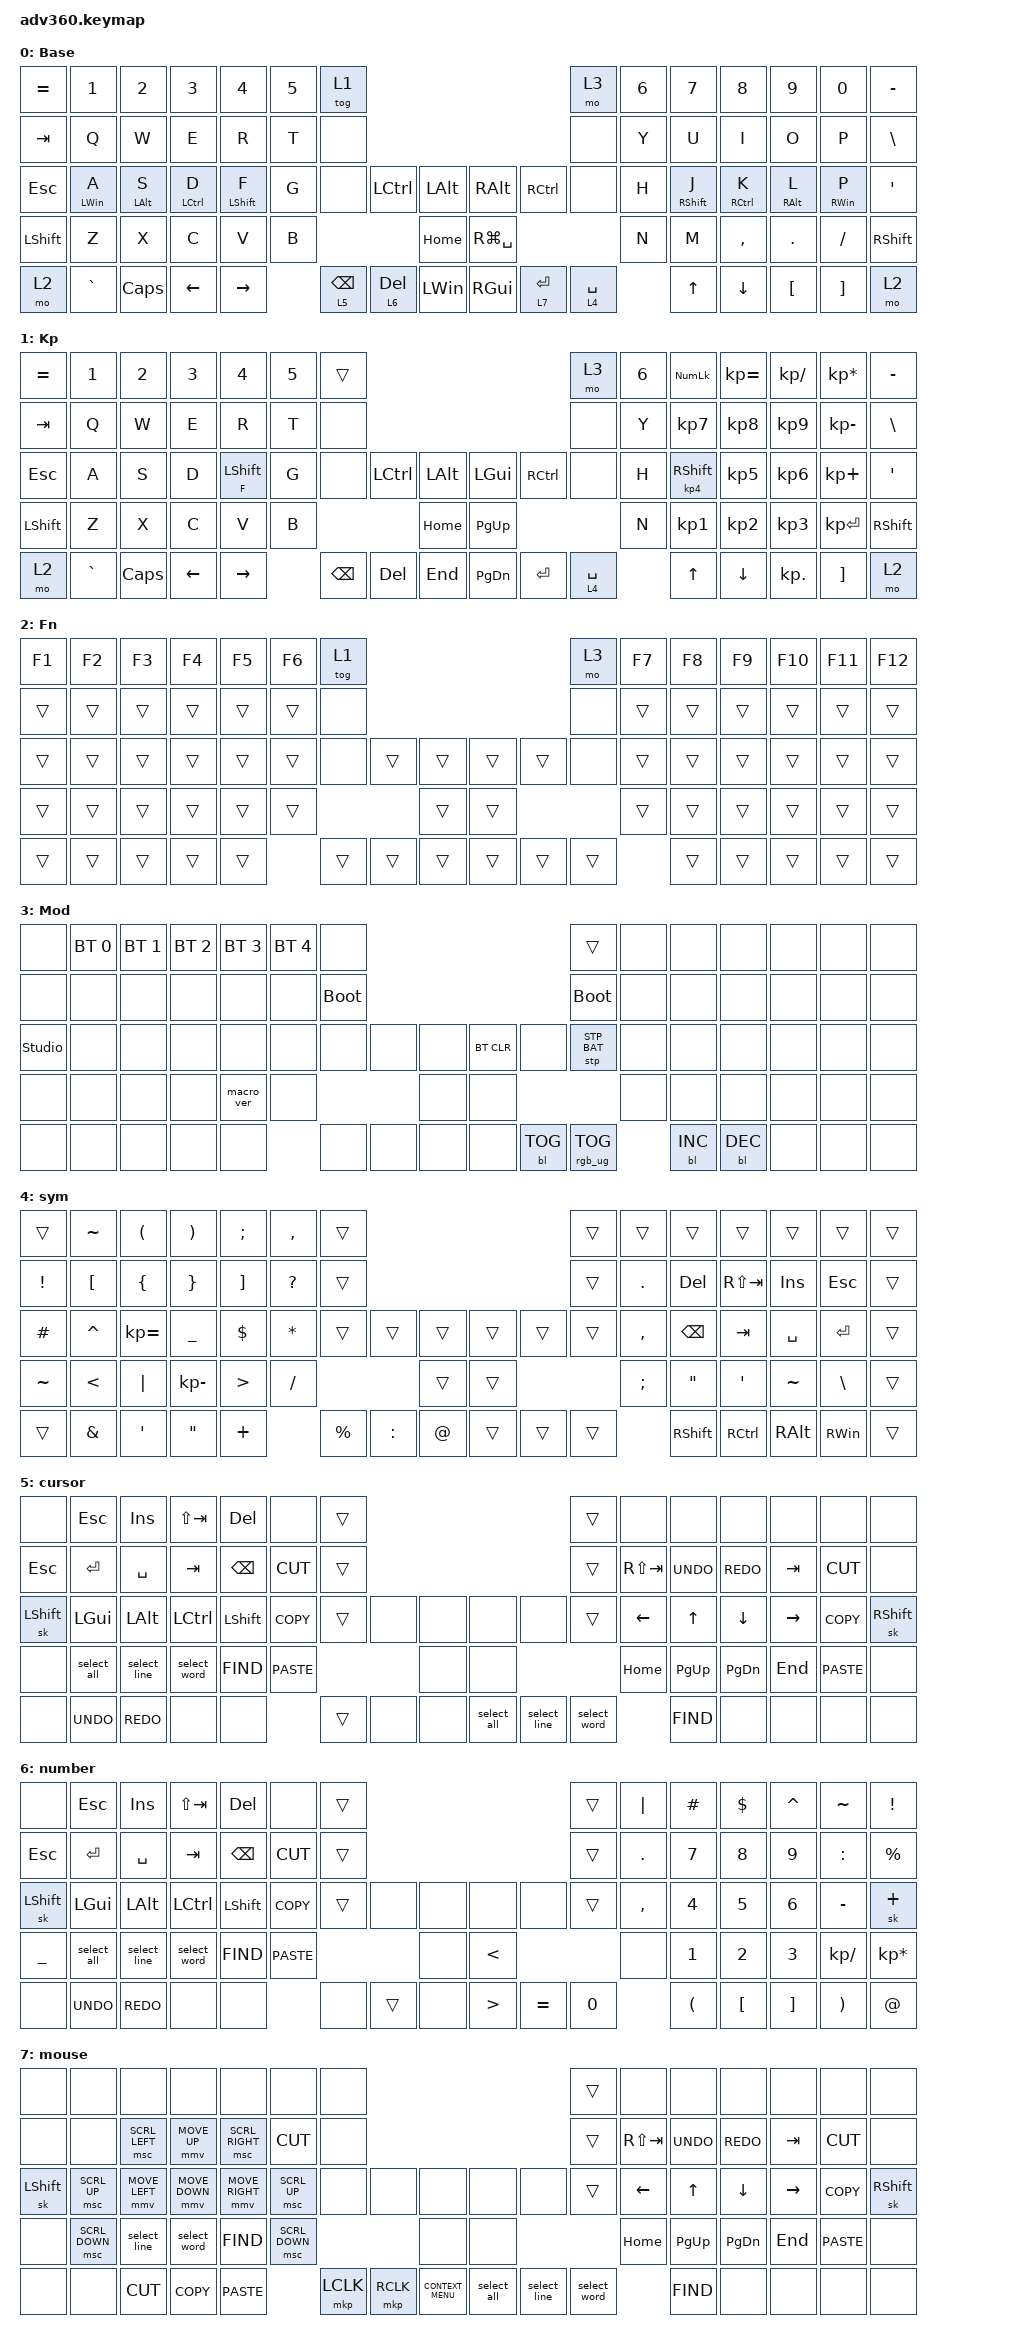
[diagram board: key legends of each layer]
#include <dt-bindings/zmk/stp.h>
#include <behaviors.dtsi>
#include <dt-bindings/zmk/backlight.h>
#include <dt-bindings/zmk/bt.h>
#include <dt-bindings/zmk/keys.h>
#include <dt-bindings/zmk/pointing.h>
#include <dt-bindings/zmk/rgb.h>

/ {
    behaviors {
        #include "macros.dtsi"
      #include "version.dtsi"

        hm: hm {
            compatible = "zmk,behavior-hold-tap";
            label = "HM";
            bindings = <&kp>, <&kp>;

            #binding-cells = <2>;
            flavor = "balanced";
            require-prior-idle-ms = <150>;
            tapping-term-ms = <200>;
            quick-tap-ms = <175>;
        };
    };

    macros {
        select_line: select_line {
            compatible = "zmk,behavior-macro";
            #binding-cells = <0>;
            bindings = <&kp HOME &kp RS(END)>;
            label = "SELECT_LINE";
        };

        select_all: select_all {
            compatible = "zmk,behavior-macro";
            #binding-cells = <0>;
            bindings = <&kp RG(A)>;
            label = "SELECT_ALL";
        };

        select_word: select_word {
            compatible = "zmk,behavior-macro";
            #binding-cells = <0>;
            bindings = <&kp RA(LEFT) &kp RA(RS(RIGHT))>;
            label = "SELECT_WORD";
        };
    };

    keymap {
        compatible = "zmk,keymap";

        default_layer {
            display-name = "Base";
            bindings = <
&kp EQUAL  &kp N1          &kp N2          &kp N3       &kp N4            &kp N5  &tog 1                                                                       &mo 3        &kp N6  &kp N7             &kp N8       &kp N9           &kp N0           &kp MINUS
&kp TAB    &kp Q           &kp W           &kp E        &kp R             &kp T   &none                                                                        &none        &kp Y   &kp U              &kp I        &kp O            &kp P            &kp BSLH
&kp ESC    &hm LEFT_WIN A  &hm LEFT_ALT S  &hm LCTRL D  &hm LEFT_SHIFT F  &kp G   &none            &kp LCTRL     &kp LALT          &kp RIGHT_ALT  &kp RCTRL    &none        &kp H   &hm RIGHT_SHIFT J  &hm RCTRL K  &hm RIGHT_ALT L  &hm RIGHT_WIN P  &kp SQT
&kp LSHFT  &kp Z           &kp X           &kp C        &kp V             &kp B                                  &kp HOME          &kp RG(SPACE)                            &kp N   &kp M              &kp COMMA    &kp DOT          &kp FSLH         &kp RSHFT
&mo 2      &kp GRAVE       &kp CAPS        &kp LEFT     &kp RIGHT                 &lt 5 BACKSPACE  &lt 6 DELETE  &kp LEFT_WIN      &kp RIGHT_GUI  &lt 7 ENTER  &lt 4 SPACE          &kp UP             &kp DOWN     &kp LBKT         &kp RBKT         &mo 2
            >;
        };

        keypad {
            display-name = "Kp";
            bindings = <
&kp EQUAL  &kp N1     &kp N2    &kp N3    &kp N4            &kp N5  &trans                                                   &mo 3        &kp N6  &kp KP_NUM             &kp KP_EQUAL  &kp KP_DIVIDE  &kp KP_MULTIPLY  &kp MINUS
&kp TAB    &kp Q      &kp W     &kp E     &kp R             &kp T   &none                                                    &none        &kp Y   &kp KP_N7              &kp KP_N8     &kp KP_N9      &kp KP_MINUS     &kp BSLH
&kp ESC    &kp A      &kp S     &kp D     &hm F LEFT_SHIFT  &kp G   &none     &kp LCTRL  &kp LALT      &kp LGUI   &kp RCTRL  &none        &kp H   &hm KP_N4 RIGHT_SHIFT  &kp KP_N5     &kp KP_N6      &kp KP_PLUS      &kp SQT
&kp LSHFT  &kp Z      &kp X     &kp C     &kp V             &kp B                        &kp HOME      &kp PG_UP                          &kp N   &kp KP_N1              &kp KP_N2     &kp KP_N3      &kp KP_ENTER     &kp RSHFT
&mo 2      &kp GRAVE  &kp CAPS  &kp LEFT  &kp RIGHT                 &kp BSPC  &kp DEL    &kp END       &kp PG_DN  &kp ENTER  &lt 4 SPACE          &kp UP                 &kp DOWN      &kp KP_DOT     &kp RBKT         &mo 2
            >;
        };

        fn {
            display-name = "Fn";
            bindings = <
&kp F1  &kp F2  &kp F3  &kp F4  &kp F5  &kp F6  &tog 1                                      &mo 3   &kp F7  &kp F8  &kp F9  &kp F10  &kp F11  &kp F12
&trans  &trans  &trans  &trans  &trans  &trans  &none                                       &none   &trans  &trans  &trans  &trans   &trans   &trans
&trans  &trans  &trans  &trans  &trans  &trans  &none   &trans  &trans      &trans  &trans  &none   &trans  &trans  &trans  &trans   &trans   &trans
&trans  &trans  &trans  &trans  &trans  &trans                  &trans      &trans                  &trans  &trans  &trans  &trans   &trans   &trans
&trans  &trans  &trans  &trans  &trans          &trans  &trans  &trans      &trans  &trans  &trans          &trans  &trans  &trans   &trans   &trans
            >;
        };

        mod {
            display-name = "Mod";
            bindings = <
&none           &bt BT_SEL 0  &bt BT_SEL 1  &bt BT_SEL 2  &bt BT_SEL 3  &bt BT_SEL 4  &none                                                  &trans           &none  &none       &none       &none  &none  &none
&none           &none         &none         &none         &none         &none         &bootloader                                            &bootloader      &none  &none       &none       &none  &none  &none
&studio_unlock  &none         &none         &none         &none         &none         &none        &none  &none      &bt BT_CLR  &none       &stp STP_BAT     &none  &none       &none       &none  &none  &none
&none           &none         &none         &none         &macro_ver    &none                             &none      &none                                    &none  &none       &none       &none  &none  &none
&none           &none         &none         &none         &none                       &none        &none  &none      &none       &bl BL_TOG  &rgb_ug RGB_TOG         &bl BL_INC  &bl BL_DEC  &none  &none  &none
            >;
        };

        sym {
            bindings = <
&trans     &kp TILDE         &kp LEFT_PARENTHESIS  &kp RIGHT_PARENTHESIS  &kp SEMI           &kp COMMA     &trans                                              &trans  &trans      &trans             &trans             &trans         &trans         &trans
&kp EXCL   &kp LEFT_BRACKET  &kp LEFT_BRACE        &kp RIGHT_BRACE        &kp RIGHT_BRACKET  &kp QUESTION  &trans                                              &trans  &kp PERIOD  &kp DELETE         &kp RS(TAB)        &kp INSERT     &kp ESC        &trans
&kp POUND  &kp CARET         &kp KP_EQUAL          &kp UNDERSCORE         &kp DOLLAR         &kp ASTERISK  &trans       &trans     &trans      &trans  &trans  &trans  &kp COMMA   &kp BACKSPACE      &kp TAB            &kp SPACE      &kp ENTER      &trans
&kp TILDE  &kp LESS_THAN     &kp PIPE              &kp KP_MINUS           &kp GREATER_THAN   &kp SLASH                             &trans      &trans                  &kp SEMI    &kp DOUBLE_QUOTES  &kp SINGLE_QUOTE   &kp TILDE      &kp BACKSLASH  &trans
&trans     &kp AMPERSAND     &kp SINGLE_QUOTE      &kp DOUBLE_QUOTES      &kp PLUS                         &kp PERCENT  &kp COLON  &kp AT      &trans  &trans  &trans              &kp RIGHT_SHIFT    &kp RIGHT_CONTROL  &kp RIGHT_ALT  &kp RIGHT_WIN  &trans
            >;
        };

        cursor {
            bindings = <
&none           &kp ESCAPE    &kp INSERT    &kp LS(TAB)   &kp DEL         &none        &trans                                               &trans        &none        &none         &none           &none      &none        &none
&kp ESCAPE      &kp ENTER     &kp SPACE     &kp TAB       &kp BACKSPACE   &kp K_CUT    &trans                                               &trans        &kp RS(TAB)  &kp K_UNDO    &kp K_REDO      &kp TAB    &kp K_CUT    &none
&sk LEFT_SHIFT  &kp LEFT_GUI  &kp LEFT_ALT  &kp LCTRL     &kp LEFT_SHIFT  &kp K_COPY   &trans  &none  &none      &none        &none         &trans        &kp LEFT     &kp UP_ARROW  &kp DOWN_ARROW  &kp RIGHT  &kp K_COPY   &sk RIGHT_SHIFT
&none           &select_all   &select_line  &select_word  &kp K_FIND      &kp K_PASTE                 &none      &none                                    &kp HOME     &kp PAGE_UP   &kp PAGE_DOWN   &kp END    &kp K_PASTE  &none
&none           &kp K_UNDO    &kp K_REDO    &none         &none                        &trans  &none  &none      &select_all  &select_line  &select_word               &kp K_FIND    &none           &none      &none        &none
            >;
        };

        number {
            bindings = <
&none           &kp ESCAPE    &kp INSERT    &kp LS(TAB)   &kp DEL         &none        &trans                                                  &trans  &kp PIPE    &kp POUND             &kp DOLLAR        &kp CARET          &kp TILDE              &kp EXCL
&kp ESCAPE      &kp ENTER     &kp SPACE     &kp TAB       &kp BACKSPACE   &kp K_CUT    &trans                                                  &trans  &kp PERIOD  &kp N7                &kp N8            &kp N9             &kp COLON              &kp PERCENT
&sk LEFT_SHIFT  &kp LEFT_GUI  &kp LEFT_ALT  &kp LCTRL     &kp LEFT_SHIFT  &kp K_COPY   &trans  &none   &none      &none             &none      &trans  &kp COMMA   &kp NUMBER_4          &kp N5            &kp NUMBER_6       &kp MINUS              &sk PLUS
&kp UNDER       &select_all   &select_line  &select_word  &kp K_FIND      &kp K_PASTE                  &none      &kp LESS_THAN                        &none       &kp NUMBER_1          &kp NUMBER_2      &kp NUMBER_3       &kp KP_DIVIDE          &kp KP_MULTIPLY
&none           &kp K_UNDO    &kp K_REDO    &none         &none                        &none   &trans  &none      &kp GREATER_THAN  &kp EQUAL  &kp N0              &kp LEFT_PARENTHESIS  &kp LEFT_BRACKET  &kp RIGHT_BRACKET  &kp RIGHT_PARENTHESIS  &kp AT
            >;
        };

        mouse {
            bindings = <
&none           &none           &none           &none           &none            &none           &none                                                                    &trans        &none        &none         &none           &none      &none        &none
&none           &none           &msc SCRL_LEFT  &mmv MOVE_UP    &msc SCRL_RIGHT  &kp K_CUT       &none                                                                    &trans        &kp RS(TAB)  &kp K_UNDO    &kp K_REDO      &kp TAB    &kp K_CUT    &none
&sk LEFT_SHIFT  &msc SCRL_UP    &mmv MOVE_LEFT  &mmv MOVE_DOWN  &mmv MOVE_RIGHT  &msc SCRL_UP    &none      &none      &none                   &none        &none         &trans        &kp LEFT     &kp UP_ARROW  &kp DOWN_ARROW  &kp RIGHT  &kp K_COPY   &sk RIGHT_SHIFT
&none           &msc SCRL_DOWN  &select_line    &select_word    &kp K_FIND       &msc SCRL_DOWN                        &none                   &none                                    &kp HOME     &kp PAGE_UP   &kp PAGE_DOWN   &kp END    &kp K_PASTE  &none
&none           &none           &kp K_CUT       &kp K_COPY      &kp K_PASTE                      &mkp LCLK  &mkp RCLK  &kp K_CONTEXT_MENU      &select_all  &select_line  &select_word               &kp K_FIND    &none           &none      &none        &none
            >;
        };
    };
};
